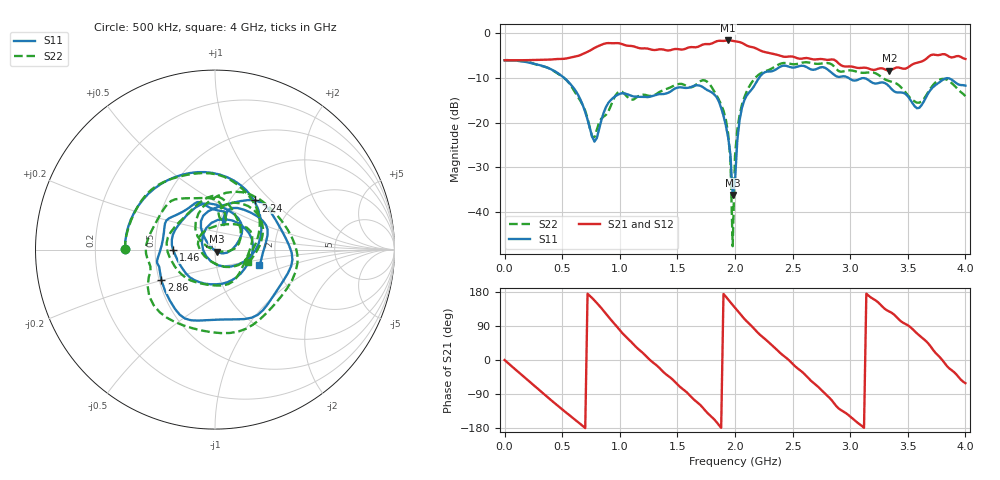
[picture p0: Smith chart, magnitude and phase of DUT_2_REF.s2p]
# Hz S DB R 50
! CMT, S5180, 51801906, 22.3.3/1
! Date: 09/01/2023 11:16:10
! Data: Format (Calibration Info)
! Freq	S11:dB/Ang(F2)	S21:dB/Ang(F2)	S12:dB/Ang(F2)	S22:dB/Ang(F2)
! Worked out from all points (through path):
!   201 points, 500 kHz to 4 GHz, reference 50 ohm
!   highest |S21| = -1.58 dB at 1.94 GHz (marker M1); lowest = -8.3 dB at 3.34 GHz (marker M2)
!   group delay of S21, straight-line fit = 803 ps
!   lowest |S11| = -36.2 dB at 1.98 GHz (marker M3), VSWR 1.03, Z = 51 - j1.24 ohm
!   |S11| at or under -10 dB: 517.7 MHz to 2.208 GHz (1.691 GHz wide, 124 % of centre); 2.987 GHz to end of sweep
!   |S22| runs from -47.7 to -6.0 dB; largest |S21 - S12| = 0.014
!   S11 on the Smith chart (normalised r, x): 500 kHz: 0.33, +0.00; 1.46 GHz: 0.62, -0.01; 2.24 GHz: 1.29, +0.81; 2.86 GHz: 0.51, -0.20; 4 GHz: 1.62, -0.29
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500000  -6.01 179.9  -6.04 -0.2  -6.04 -0.1  -6.01 179.9
3.404575e8  -7.38 91.9  -5.90 -89.8  -5.91 -90.0  -7.41 93.9
6.80415e8  -16.17 -32.2  -4.60 -174.5  -4.61 -174.4  -16.13 -33.6
7.804025e8  -24.25 -143.0  -3.27 157.3  -3.27 157.2  -23.23 -147.4
9.803775e8  -13.78 36.1  -2.18 86.2  -2.24 85.8  -13.32 34.4
1.140358e9  -14.16 -42.4  -3.07 34.7  -3.07 34.4  -14.45 -44.5
1.340332e9  -13.61 -132.0  -3.58 -19.9  -3.59 -19.5  -13.18 -128.2
1.460318e9  -12.66 -179.0  -3.61 -52.0  -3.63 -51.9  -11.83 -170.2
1.720285e9  -12.01 89.0  -2.50 -125.7  -2.36 -125.9  -10.48 92.7
1.940258e9  -23.25 -14.8  -1.58 160.1  -1.60 160.3  -22.37 -6.9
1.960255e9  -27.08 -28.8  -1.59 152.5  -1.59 152.7  -28.11 -16.6
1.980252e9  -36.19 -51.6  -1.68 145.0  -1.65 145.1  -47.66 -120.2
2.00025e9  -33.16 151.2  -1.77 137.9  -1.76 137.9  -27.49 160.5
2.060242e9  -16.71 122.4  -2.13 116.0  -2.11 116.3  -16.01 133.6
2.24022e9  -9.00 50.6  -4.05 60.7  -3.96 60.5  -8.74 56.4
2.440195e9  -7.25 -12.3  -5.26 6.8  -5.22 6.5  -6.63 -15.2
2.680165e9  -8.16 -88.6  -5.83 -60.0  -5.86 -58.6  -6.73 -92.1
2.860142e9  -9.27 -150.3  -5.89 -114.2  -5.75 -114.5  -7.40 -151.6
3.340082e9  -11.91 102.5  -8.33 127.8  -8.26 128.5  -10.68 100.3
3.640045e9  -15.21 70.3  -6.06 54.7  -5.92 55.3  -14.67 82.6
3.780028e9  -10.86 46.0  -4.81 6.8  -4.65 6.8  -10.32 53.1
4e9  -11.70 -19.0  -5.73 -61.2  -5.85 -60.4  -14.04 -20.0
